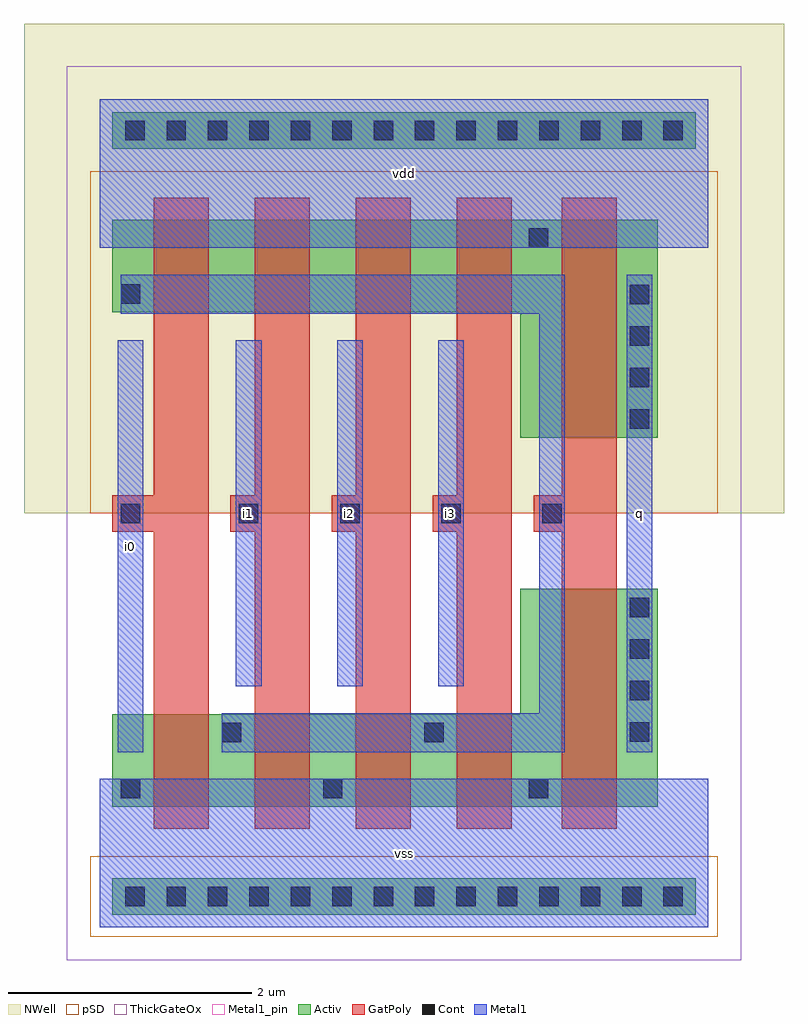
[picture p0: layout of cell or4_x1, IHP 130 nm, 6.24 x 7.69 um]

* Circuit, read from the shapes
.subckt or4_x1 i0 i1 i2 i3 q vdd vss
XM1 n1 i0 vss vss sg13_hv_nmos w=0.76u l=0.45u
XM2 vss i1 n1 vss sg13_hv_nmos w=0.76u l=0.45u
XM3 n1 i2 vss vss sg13_hv_nmos w=0.76u l=0.45u
XM4 vss i3 n1 vss sg13_hv_nmos w=0.76u l=0.45u
XM5 q n1 vss vss sg13_hv_nmos w=1.79u l=0.45u
XM6 n2 i0 n1 vdd sg13_hv_pmos w=0.76u l=0.45u
XM7 n3 i1 n2 vdd sg13_hv_pmos w=0.76u l=0.45u
XM8 n4 i2 n3 vdd sg13_hv_pmos w=0.76u l=0.45u
XM9 vdd i3 n4 vdd sg13_hv_pmos w=0.76u l=0.45u
XM10 q n1 vdd vdd sg13_hv_pmos w=1.79u l=0.45u
.ends

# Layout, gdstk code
import gdstk
lib = gdstk.Library(unit=1e-6, precision=1e-09)
def R(c, l, rs):  # rectangles x0, y0, x1, y1
    for r in rs: c.add(gdstk.rectangle(r[:2], r[2:], *l))
def A(c, l, x, y, w, h, nx, ny, dx, dy):  # array of equal rectangles
    R(c, l, [(x+i*dx, y+j*dy, x+i*dx+w, y+j*dy+h) for i in range(nx) for j in range(ny)])
def P(c, l, *ps):  # polygons
    for p in ps: c.add(gdstk.Polygon(p, *l))
Activ = (1, 0)
GatPoly = (5, 0)
Cont = (6, 0)
Metal1 = (8, 0)
Metal1_pin = (8, 2)
pSD = (14, 0)
NWell = (31, 0)
ThickGateOx = (44, 0)

or4_x1 = lib.new_cell('or4_x1')
R(or4_x1, Activ, [(0.105,0.105,4.895,0.405), (0.105,6.395,4.895,6.695)])
P(or4_x1, Activ, [(0.105,0.99),(0.105,1.75),(3.455,1.75),(3.455,2.78),(4.585,2.78),(4.585,0.99)],
  [(3.455,4.02),(3.455,5.05),(0.105,5.05),(0.105,5.81),(4.585,5.81),(4.585,4.02)])
P(or4_x1, GatPoly, [(3.795,0.81),(3.795,3.25),(3.565,3.25),(3.565,3.55),(3.795,3.55),(3.795,5.99),(4.245,5.99),(4.245,0.81)],
  [(0.445,0.81),(0.445,3.25),(0.105,3.25),(0.105,3.55),(0.445,3.55),(0.445,5.99),(0.895,5.99),(0.895,0.81)],
  [(1.275,0.81),(1.275,3.25),(1.075,3.25),(1.075,3.55),(1.275,3.55),(1.275,5.99),(1.725,5.99),(1.725,0.81)],
  [(2.105,0.81),(2.105,3.25),(1.905,3.25),(1.905,3.55),(2.105,3.55),(2.105,5.99),(2.555,5.99),(2.555,0.81)],
  [(2.935,0.81),(2.935,3.25),(2.735,3.25),(2.735,3.55),(2.935,3.55),(2.935,5.99),(3.385,5.99),(3.385,0.81)])
A(or4_x1, Cont, 0.21, 0.175, 0.16, 0.16, 14, 2, 0.34, 6.29)
A(or4_x1, Cont, 4.355, 1.525, 0.16, 0.16, 1, 4, 0, 0.34)
A(or4_x1, Cont, 1.145, 3.32, 0.16, 0.16, 4, 1, 0.83, 0)
A(or4_x1, Cont, 4.355, 4.095, 0.16, 0.16, 1, 4, 0, 0.34)
R(or4_x1, Cont, [(0.175,1.06,0.335,1.22), (1.835,1.06,1.995,1.22), (3.525,1.06,3.685,1.22), (1.005,1.52,1.165,1.68), (2.665,1.52,2.825,1.68), (0.175,3.32,0.335,3.48), (0.175,5.12,0.335,5.28), (3.525,5.58,3.685,5.74)])
A(or4_x1, Metal1, 1.12, 1.98, 0.21, 2.84, 3, 1, 0.83, 0)
R(or4_x1, Metal1, [(0,0,5,1.22), (0.15,1.44,0.36,4.82), (4.33,1.44,4.54,5.36), (0,5.58,5,6.8)])
P(or4_x1, Metal1, [(1.005,1.44),(1.005,1.76),(3.61,1.76),(3.61,5.04),(0.175,5.04),(0.175,5.36),(3.82,5.36),(3.82,1.44)])
A(or4_x1, Metal1_pin, 1.12, 1.98, 0.21, 2.84, 3, 1, 0.83, 0)
R(or4_x1, Metal1_pin, [(0,0,5,1.22), (0.15,1.44,0.36,4.82), (4.33,1.44,4.54,5.36), (0,5.58,5,6.8)])
R(or4_x1, pSD, [(-0.075,-0.075,5.075,0.585), (-0.075,3.4,5.075,6.21)])
R(or4_x1, NWell, [(-0.62,3.4,5.62,7.42)])
R(or4_x1, ThickGateOx, [(-0.27,-0.27,5.27,7.07)])
or4_x1.add(gdstk.Label('vss', (2.5,0.61), layer=8, texttype=2))
or4_x1.add(gdstk.Label('vdd', (2.5,6.19), layer=8, texttype=2))
or4_x1.add(gdstk.Label('i0', (0.255,3.13), layer=8, texttype=2))
or4_x1.add(gdstk.Label('i1', (1.225,3.4), layer=8, texttype=2))
or4_x1.add(gdstk.Label('i2', (2.055,3.4), layer=8, texttype=2))
or4_x1.add(gdstk.Label('i3', (2.885,3.4), layer=8, texttype=2))
or4_x1.add(gdstk.Label('q', (4.435,3.4), layer=8, texttype=2))

lib.write_gds('or4_x1.gds')
